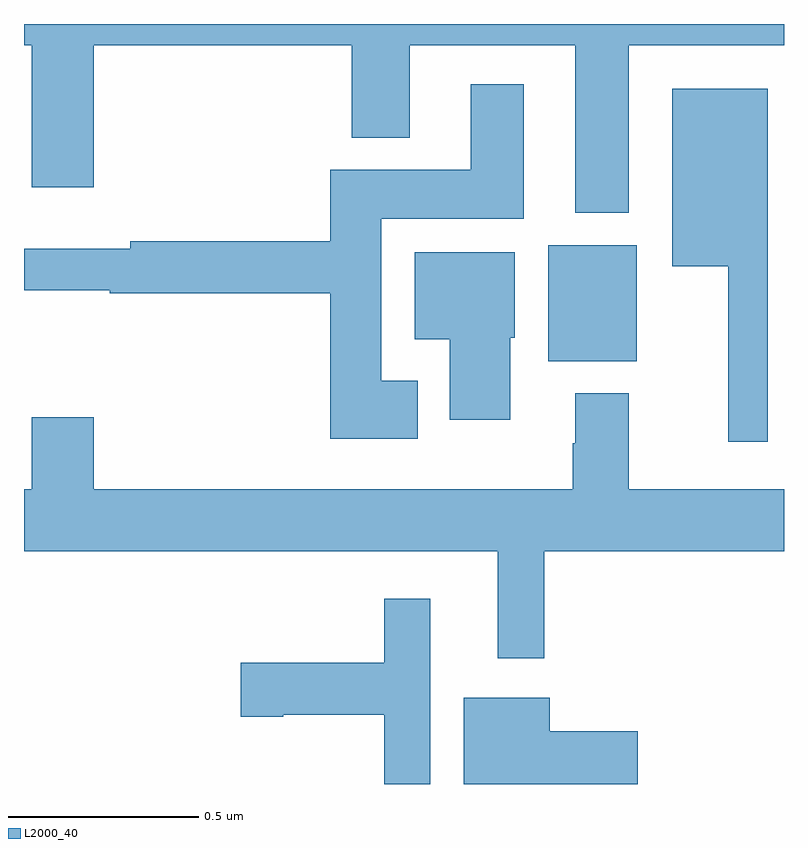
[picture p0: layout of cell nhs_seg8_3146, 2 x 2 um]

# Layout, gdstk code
import gdstk
lib = gdstk.Library(unit=1e-6, precision=1e-09)
def R(c, l, rs):  # rectangles x0, y0, x1, y1
    for r in rs: c.add(gdstk.rectangle(r[:2], r[2:], *l))
def P(c, l, *ps):  # polygons
    for p in ps: c.add(gdstk.Polygon(p, *l))
L2000_40 = (2000, 40)

nhs_seg8_3146 = lib.new_cell('nhs_seg8_3146')
R(nhs_seg8_3146, L2000_40, [(154.379,1105.013,154.612,1105.318)])
P(nhs_seg8_3146, L2000_40, [(154.591,1105.844),(155,1105.844),(155,1105.9),(153,1105.9),(153,1105.844),(153.02,1105.844),(153.02,1105.47),(153.184,1105.47),(153.184,1105.844),(153.863,1105.844),(153.863,1105.601),(154.015,1105.601),(154.015,1105.844),(154.451,1105.844),(154.451,1105.403),(154.591,1105.403)],
  [(154.036,1104.961),(153.94,1104.961),(153.94,1105.388),(154.315,1105.388),(154.315,1105.741),(154.175,1105.741),(154.175,1105.516),(153.806,1105.516),(153.806,1105.328),(153.28,1105.328),(153.28,1105.309),(153,1105.309),(153,1105.2),(153.226,1105.2),(153.226,1105.192),(153.806,1105.192),(153.806,1104.809),(154.036,1104.809)],
  [(154.957,1105.729),(154.706,1105.729),(154.706,1105.262),(154.853,1105.262),(154.853,1104.801),(154.957,1104.801)],
  [(154.279,1105.074),(154.291,1105.074),(154.291,1105.3),(154.028,1105.3),(154.028,1105.07),(154.121,1105.07),(154.121,1104.858),(154.279,1104.858)],
  [(154.369,1104.512),(155,1104.512),(155,1104.676),(154.591,1104.676),(154.591,1104.928),(154.451,1104.928),(154.451,1104.797),(154.444,1104.797),(154.444,1104.676),(153.184,1104.676),(153.184,1104.865),(153.02,1104.865),(153.02,1104.676),(153,1104.676),(153,1104.512),(154.247,1104.512),(154.247,1104.231),(154.369,1104.231)],
  [(154.069,1104.388),(153.948,1104.388),(153.948,1104.219),(153.57,1104.219),(153.57,1104.077),(153.682,1104.077),(153.682,1104.082),(153.948,1104.082),(153.948,1103.9),(154.069,1103.9)],
  [(154.615,1104.039),(154.384,1104.039),(154.384,1104.127),(154.157,1104.127),(154.157,1103.9),(154.615,1103.9)])

lib.write_gds('nhs_seg8_3146.gds')
